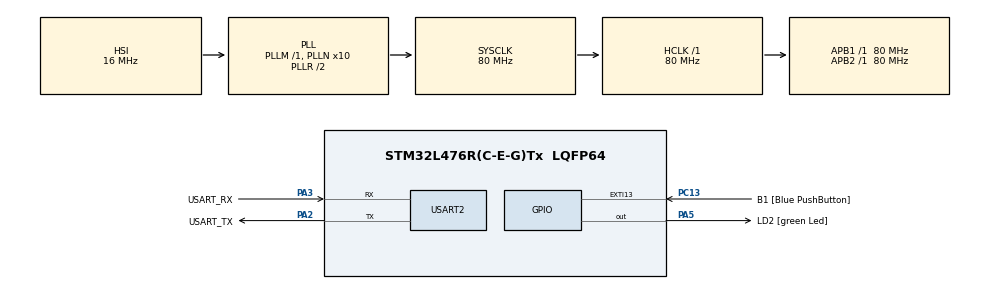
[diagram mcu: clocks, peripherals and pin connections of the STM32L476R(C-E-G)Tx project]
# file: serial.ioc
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Mcu.Family=STM32L4
Mcu.Name=STM32L476R(C-E-G)Tx
Mcu.Package=LQFP64
NVIC.PriorityGroup=NVIC_PRIORITYGROUP_4
NVIC.TIM3_IRQn=true\:0\:0\:false\:false\:true\:true\:true\:true
NVIC.USART2_IRQn=true\:0\:0\:false\:false\:true\:true\:true\:true
PA13\ (JTMS-SWDIO).GPIO_Label=TMS
PA13\ (JTMS-SWDIO).Mode=Trace_Asynchronous_SW
PA13\ (JTMS-SWDIO).Signal=SYS_JTMS-SWDIO
PA14\ (JTCK-SWCLK).GPIO_Label=TCK
PA14\ (JTCK-SWCLK).Mode=Trace_Asynchronous_SW
PA14\ (JTCK-SWCLK).Signal=SYS_JTCK-SWCLK
PA2.GPIO_Label=USART_TX
PA2.GPIO_Mode=GPIO_MODE_AF_PP
PA2.GPIO_PuPd=GPIO_NOPULL
PA2.GPIO_Speed=GPIO_SPEED_FREQ_VERY_HIGH
PA2.Mode=Asynchronous
PA2.Signal=USART2_TX
PA3.GPIO_Label=USART_RX
PA3.GPIO_Mode=GPIO_MODE_AF_PP
PA3.GPIO_PuPd=GPIO_NOPULL
PA3.GPIO_Speed=GPIO_SPEED_FREQ_VERY_HIGH
PA3.Mode=Asynchronous
PA3.Signal=USART2_RX
PA5.GPIO_Label=LD2 [green Led]
PA5.GPIO_ModeDefaultOutputPP=GPIO_MODE_OUTPUT_PP
PA5.GPIO_PuPd=GPIO_NOPULL
PA5.GPIO_Speed=GPIO_SPEED_FREQ_LOW
PA5.Signal=GPIO_Output
PB3\ (JTDO-TRACESWO).GPIO_Label=SWO
PB3\ (JTDO-TRACESWO).Mode=Trace_Asynchronous_SW
PB3\ (JTDO-TRACESWO).Signal=SYS_JTDO-SWO
PC13.GPIO_Label=B1 [Blue PushButton]
PC13.GPIO_ModeDefaultEXTI=GPIO_MODE_IT_FALLING
PC13.GPIO_PuPd=GPIO_NOPULL
PC13.Signal=GPXTI13
PC14-OSC32_IN\ (PC14).Mode=LSE-External-Oscillator
PC14-OSC32_IN\ (PC14).Signal=RCC_OSC32_IN
PC15-OSC32_OUT\ (PC15).Mode=LSE-External-Oscillator
PC15-OSC32_OUT\ (PC15).Signal=RCC_OSC32_OUT
PH0-OSC_IN\ (PH0).Signal=RCC_OSC_IN
PH1-OSC_OUT\ (PH1).Signal=RCC_OSC_OUT
ProjectManager.HeapSize=0x200
ProjectManager.StackSize=0x400
ProjectManager.TargetToolchain=STM32CubeIDE
RCC.ADCFreq_Value=64000000
RCC.AHBFreq_Value=80000000
RCC.APB1Freq_Value=80000000
RCC.APB1TimFreq_Value=80000000
RCC.APB2Freq_Value=80000000
RCC.APB2TimFreq_Value=80000000
RCC.CortexFreq_Value=80000000
RCC.HCLKFreq_Value=80000000
RCC.HSE_VALUE=8000000
RCC.HSI_VALUE=16000000
RCC.MSI_VALUE=4000000
RCC.PLLN=10
RCC.PLLSourceVirtual=RCC_PLLSOURCE_HSI
RCC.PREFETCH_ENABLE=1
RCC.SYSCLKFreq_VALUE=80000000
RCC.SYSCLKSource=RCC_SYSCLKSOURCE_PLLCLK
RCC.USBFreq_Value=64000000
RCC.VCOOutputFreq_Value=160000000
TIM3.AutoReloadPreload=TIM_AUTORELOAD_PRELOAD_ENABLE
TIM3.Period=10000
TIM3.Prescaler=800
USART2.VirtualMode-Asynchronous=VM_ASYNC
VP_TIM3_VS_ClockSourceINT.Mode=Internal
board=NUCLEO-L476RG

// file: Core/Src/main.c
/* USER CODE BEGIN Header */
/**
 * Copyright 2022 Pascal Bodin
 */
/* USER CODE END Header */
#include "main.h"

/* USER CODE BEGIN Includes */
#include <stdbool.h>
#include <string.h>

/* USER CODE END Includes */

/* USER CODE BEGIN PD */
// At 115200 b/s, transmitting one character (10 bits) takes 87 µs.
// => Using 1 ms for timeout is OK.
#define TRANSMIT_TIMEOUT 1
/* USER CODE END PD */

TIM_HandleTypeDef htim3;

UART_HandleTypeDef huart2;

/* USER CODE BEGIN PV */
static const char VERSION[] = "Blinky 1.0\n";
// Received byte. The variable is used to exchange data between the
// UART RX handler and the background task.
static uint8_t rec_byte;
// Reception event flag.
static bool rec_byte_event;
/* USER CODE END PV */

void SystemClock_Config(void);
static void MX_GPIO_Init(void);
static void MX_USART2_UART_Init(void);
static void MX_TIM3_Init(void);

int main(void)
{

  /* MCU Configuration--------------------------------------------------------*/

  /* Reset of all peripherals, Initializes the Flash interface and the Systick. */
  HAL_Init();

  /* Configure the system clock */
  SystemClock_Config();

  /* Initialize all configured peripherals */
  MX_GPIO_Init();
  MX_USART2_UART_Init();
  MX_TIM3_Init();
  /* USER CODE BEGIN 2 */
  HAL_StatusTypeDef hal_status = HAL_UART_Transmit(&huart2, (uint8_t *)VERSION, strlen(VERSION),
		  	  	  	  	  	  	  	  	  	  	   TRANSMIT_TIMEOUT);
  if (hal_status != HAL_OK)
  {
	  Error_Handler();
  }
  /* USER CODE END 2 */

  /* Infinite loop */
  /* USER CODE BEGIN WHILE */
  while (true)
  {
	  if (rec_byte_event)
	  {
		  HAL_UART_Transmit(&huart2, &rec_byte, 1, TRANSMIT_TIMEOUT);
		  rec_byte_event = false;
	  }
    /* USER CODE END WHILE */

  }
}

void SystemClock_Config(void)
{
  RCC_OscInitTypeDef RCC_OscInitStruct = {0};
  RCC_ClkInitTypeDef RCC_ClkInitStruct = {0};

  /** Configure the main internal regulator output voltage
  */
  if (HAL_PWREx_ControlVoltageScaling(PWR_REGULATOR_VOLTAGE_SCALE1) != HAL_OK)
  {
    Error_Handler();
  }

  /** Initializes the RCC Oscillators according to the specified parameters
  * in the RCC_OscInitTypeDef structure.
  */
  RCC_OscInitStruct.OscillatorType = RCC_OSCILLATORTYPE_HSI;
  RCC_OscInitStruct.HSIState = RCC_HSI_ON;
  RCC_OscInitStruct.HSICalibrationValue = RCC_HSICALIBRATION_DEFAULT;
  RCC_OscInitStruct.PLL.PLLState = RCC_PLL_ON;
  RCC_OscInitStruct.PLL.PLLSource = RCC_PLLSOURCE_HSI;
  RCC_OscInitStruct.PLL.PLLM = 1;
  RCC_OscInitStruct.PLL.PLLN = 10;
  RCC_OscInitStruct.PLL.PLLP = RCC_PLLP_DIV7;
  RCC_OscInitStruct.PLL.PLLQ = RCC_PLLQ_DIV2;
  RCC_OscInitStruct.PLL.PLLR = RCC_PLLR_DIV2;
  if (HAL_RCC_OscConfig(&RCC_OscInitStruct) != HAL_OK)
  {
    Error_Handler();
  }

  /** Initializes the CPU, AHB and APB buses clocks
  */
  RCC_ClkInitStruct.ClockType = RCC_CLOCKTYPE_HCLK|RCC_CLOCKTYPE_SYSCLK
                              |RCC_CLOCKTYPE_PCLK1|RCC_CLOCKTYPE_PCLK2;
  RCC_ClkInitStruct.SYSCLKSource = RCC_SYSCLKSOURCE_PLLCLK;
  RCC_ClkInitStruct.AHBCLKDivider = RCC_SYSCLK_DIV1;
  RCC_ClkInitStruct.APB1CLKDivider = RCC_HCLK_DIV1;
  RCC_ClkInitStruct.APB2CLKDivider = RCC_HCLK_DIV1;

  if (HAL_RCC_ClockConfig(&RCC_ClkInitStruct, FLASH_LATENCY_4) != HAL_OK)
  {
    Error_Handler();
  }
}

static void MX_TIM3_Init(void)
{

  TIM_ClockConfigTypeDef sClockSourceConfig = {0};
  TIM_MasterConfigTypeDef sMasterConfig = {0};

  htim3.Instance = TIM3;
  htim3.Init.Prescaler = 800;
  htim3.Init.CounterMode = TIM_COUNTERMODE_UP;
  htim3.Init.Period = 10000;
  htim3.Init.ClockDivision = TIM_CLOCKDIVISION_DIV1;
  htim3.Init.AutoReloadPreload = TIM_AUTORELOAD_PRELOAD_ENABLE;
  if (HAL_TIM_Base_Init(&htim3) != HAL_OK)
  {
    Error_Handler();
  }
  sClockSourceConfig.ClockSource = TIM_CLOCKSOURCE_INTERNAL;
  if (HAL_TIM_ConfigClockSource(&htim3, &sClockSourceConfig) != HAL_OK)
  {
    Error_Handler();
  }
  sMasterConfig.MasterOutputTrigger = TIM_TRGO_RESET;
  sMasterConfig.MasterSlaveMode = TIM_MASTERSLAVEMODE_DISABLE;
  if (HAL_TIMEx_MasterConfigSynchronization(&htim3, &sMasterConfig) != HAL_OK)
  {
    Error_Handler();
  }
  /* USER CODE BEGIN TIM3_Init 2 */
  if (HAL_TIM_Base_Start_IT(&htim3) != HAL_OK)
  {
    /* Starting Error */
    Error_Handler();
  }
  /* USER CODE END TIM3_Init 2 */

}

static void MX_USART2_UART_Init(void)
{

  huart2.Instance = USART2;
  huart2.Init.BaudRate = 115200;
  huart2.Init.WordLength = UART_WORDLENGTH_8B;
  huart2.Init.StopBits = UART_STOPBITS_1;
  huart2.Init.Parity = UART_PARITY_NONE;
  huart2.Init.Mode = UART_MODE_TX_RX;
  huart2.Init.HwFlowCtl = UART_HWCONTROL_NONE;
  huart2.Init.OverSampling = UART_OVERSAMPLING_16;
  huart2.Init.OneBitSampling = UART_ONE_BIT_SAMPLE_DISABLE;
  huart2.AdvancedInit.AdvFeatureInit = UART_ADVFEATURE_NO_INIT;
  if (HAL_UART_Init(&huart2) != HAL_OK)
  {
    Error_Handler();
  }
  /* USER CODE BEGIN USART2_Init 2 */
  // The HAL is configured to use an RX buffer, rec_byte, of one byte.
  // Every time a byte is received, it will be written into rec_byte,
  // by the HAL UART ISR.
  HAL_UART_Receive_IT(&huart2, &rec_byte, 1);
  /* USER CODE END USART2_Init 2 */

}

static void MX_GPIO_Init(void)
{
  GPIO_InitTypeDef GPIO_InitStruct = {0};

  /* GPIO Ports Clock Enable */
  __HAL_RCC_GPIOC_CLK_ENABLE();
  __HAL_RCC_GPIOH_CLK_ENABLE();
  __HAL_RCC_GPIOA_CLK_ENABLE();
  __HAL_RCC_GPIOB_CLK_ENABLE();

  /*Configure GPIO pin Output Level */
  HAL_GPIO_WritePin(LD2_GPIO_Port, LD2_Pin, GPIO_PIN_RESET);

  /*Configure GPIO pin : B1_Pin */
  GPIO_InitStruct.Pin = B1_Pin;
  GPIO_InitStruct.Mode = GPIO_MODE_IT_FALLING;
  GPIO_InitStruct.Pull = GPIO_NOPULL;
  HAL_GPIO_Init(B1_GPIO_Port, &GPIO_InitStruct);

  /*Configure GPIO pin : LD2_Pin */
  GPIO_InitStruct.Pin = LD2_Pin;
  GPIO_InitStruct.Mode = GPIO_MODE_OUTPUT_PP;
  GPIO_InitStruct.Pull = GPIO_NOPULL;
  GPIO_InitStruct.Speed = GPIO_SPEED_FREQ_LOW;
  HAL_GPIO_Init(LD2_GPIO_Port, &GPIO_InitStruct);

}

/* USER CODE BEGIN 4 */
// Timer ISR.
void HAL_TIM_PeriodElapsedCallback(TIM_HandleTypeDef *htim)
{
	HAL_GPIO_TogglePin(LD2_GPIO_Port, LD2_Pin);
}

// RX UART ISR.
void HAL_UART_RxCpltCallback(UART_HandleTypeDef *huart)
{
	HAL_UART_Receive_IT(&huart2, &rec_byte, 1);
	rec_byte_event = true;
}
/* USER CODE END 4 */

void Error_Handler(void)
{
  __disable_irq();
  while (1)
  {
  }
}
